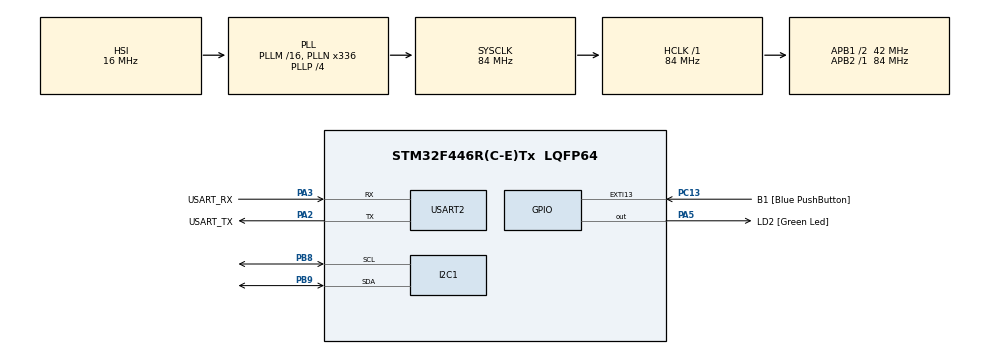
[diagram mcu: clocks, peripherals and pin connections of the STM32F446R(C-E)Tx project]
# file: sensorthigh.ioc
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Dma.I2C1_RX.0.Direction=DMA_PERIPH_TO_MEMORY
Dma.I2C1_RX.0.FIFOMode=DMA_FIFOMODE_DISABLE
Dma.I2C1_RX.0.Instance=DMA1_Stream0
Dma.I2C1_RX.0.MemDataAlignment=DMA_MDATAALIGN_BYTE
Dma.I2C1_RX.0.MemInc=DMA_MINC_ENABLE
Dma.I2C1_RX.0.Mode=DMA_NORMAL
Dma.I2C1_RX.0.PeriphDataAlignment=DMA_PDATAALIGN_BYTE
Dma.I2C1_RX.0.PeriphInc=DMA_PINC_DISABLE
Dma.I2C1_RX.0.Priority=DMA_PRIORITY_LOW
Dma.I2C1_TX.1.Direction=DMA_MEMORY_TO_PERIPH
Dma.I2C1_TX.1.FIFOMode=DMA_FIFOMODE_DISABLE
Dma.I2C1_TX.1.Instance=DMA1_Stream6
Dma.I2C1_TX.1.MemDataAlignment=DMA_MDATAALIGN_BYTE
Dma.I2C1_TX.1.MemInc=DMA_MINC_ENABLE
Dma.I2C1_TX.1.Mode=DMA_NORMAL
Dma.I2C1_TX.1.PeriphDataAlignment=DMA_PDATAALIGN_BYTE
Dma.I2C1_TX.1.PeriphInc=DMA_PINC_DISABLE
Dma.I2C1_TX.1.Priority=DMA_PRIORITY_LOW
Dma.Request0=I2C1_RX
Dma.Request1=I2C1_TX
I2C1.I2C_Mode=I2C_Fast
Mcu.Family=STM32F4
Mcu.Name=STM32F446R(C-E)Tx
Mcu.Package=LQFP64
NVIC.DMA1_Stream0_IRQn=true\:0\:0\:false\:false\:true\:false\:true\:true
NVIC.DMA1_Stream6_IRQn=true\:0\:0\:false\:false\:true\:false\:true\:true
NVIC.PriorityGroup=NVIC_PRIORITYGROUP_0
NVIC.USART2_IRQn=true\:0\:0\:false\:false\:true\:true\:true\:true
PA13.GPIO_Label=TMS
PA13.Mode=Serial_Wire
PA13.Signal=SYS_JTMS-SWDIO
PA14.GPIO_Label=TCK
PA14.Mode=Serial_Wire
PA14.Signal=SYS_JTCK-SWCLK
PA2.GPIO_Label=USART_TX
PA2.Mode=Asynchronous
PA2.Signal=USART2_TX
PA3.GPIO_Label=USART_RX
PA3.Mode=Asynchronous
PA3.Signal=USART2_RX
PA5.GPIO_Label=LD2 [Green Led]
PA5.Signal=GPIO_Output
PB3.GPIO_Label=SWO
PB3.Signal=SYS_JTDO-SWO
PB8.Mode=I2C
PB8.Signal=I2C1_SCL
PB9.Mode=I2C
PB9.Signal=I2C1_SDA
PC13.GPIO_Label=B1 [Blue PushButton]
PC13.GPIO_ModeDefaultEXTI=GPIO_MODE_IT_FALLING
PC13.Signal=GPXTI13
PC14-OSC32_IN.Mode=LSE-External-Oscillator
PC14-OSC32_IN.Signal=RCC_OSC32_IN
PC15-OSC32_OUT.Mode=LSE-External-Oscillator
PC15-OSC32_OUT.Signal=RCC_OSC32_OUT
PH0-OSC_IN.Mode=HSE-External-Oscillator
PH0-OSC_IN.Signal=RCC_OSC_IN
PH1-OSC_OUT.Mode=HSE-External-Oscillator
PH1-OSC_OUT.Signal=RCC_OSC_OUT
ProjectManager.HeapSize=0x200
ProjectManager.StackSize=0x400
ProjectManager.TargetToolchain=STM32CubeIDE
RCC.48MHZClocksFreq_Value=84000000
RCC.AHBFreq_Value=84000000
RCC.APB1CLKDivider=RCC_HCLK_DIV2
RCC.APB1Freq_Value=42000000
RCC.APB1TimFreq_Value=84000000
RCC.APB2Freq_Value=84000000
RCC.APB2TimFreq_Value=84000000
RCC.CortexFreq_Value=84000000
RCC.FLatency-AdvancedSettings=FLASH_LATENCY_2
RCC.HCLKFreq_Value=84000000
RCC.HSE_VALUE=8000000
RCC.HSI_VALUE=16000000
RCC.PLLN=336
RCC.PLLP=RCC_PLLP_DIV4
RCC.SYSCLKFreq_VALUE=84000000
RCC.SYSCLKSource=RCC_SYSCLKSOURCE_PLLCLK
RCC.USBFreq_Value=168000000
RCC.VCOOutputFreq_Value=336000000
USART2.VirtualMode=VM_ASYNC
board=NUCLEO-F446RE

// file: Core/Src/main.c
/* USER CODE BEGIN Header */
/**
  ******************************************************************************
  * @file           : main.c
  * @brief          : Main program body
  ******************************************************************************
  * @attention
  *
  * Copyright (c) 2025 STMicroelectronics.
  * All rights reserved.
  *
  * This software is licensed under terms that can be found in the LICENSE file
  * in the root directory of this software component.
  * If no LICENSE file comes with this software, it is provided AS-IS.
  *
  ******************************************************************************
  */
/* USER CODE END Header */
#include "main.h"
#include <stdio.h>
#include <string.h>

/* USER CODE BEGIN PD */

//this is related to finding the BBO055 Sensor ID
#define BNO055_ADDRESS (0x28 << 1)

/* USER CODE END PD */

I2C_HandleTypeDef hi2c1;
DMA_HandleTypeDef hdma_i2c1_rx;
DMA_HandleTypeDef hdma_i2c1_tx;

UART_HandleTypeDef huart2;

void SystemClock_Config(void);
static void MX_GPIO_Init(void);
static void MX_DMA_Init(void);
static void MX_USART2_UART_Init(void);
static void MX_I2C1_Init(void);

int main(void)
{

  /* MCU Configuration--------------------------------------------------------*/

  /* Reset of all peripherals, Initializes the Flash interface and the Systick. */
  HAL_Init();

  /* Configure the system clock */
  SystemClock_Config();

  /* Initialize all configured peripherals */
  MX_GPIO_Init();
  MX_DMA_Init();
  MX_USART2_UART_Init();
  MX_I2C1_Init();
  /* USER CODE BEGIN 2 */

  // [DELETE LATER] UART test message to verify serial communication
  char msg[] = "System initialized\r\n";
  HAL_UART_Transmit(&huart2, (uint8_t*)msg, strlen(msg), HAL_MAX_DELAY);

  //[DELETE LATER] BNO055 chip ID read and print to UART

  uint8_t chipID = 0;
  HAL_StatusTypeDef status;

  status = HAL_I2C_Mem_Read(&hi2c1, BNO055_ADDRESS, 0x00, I2C_MEMADD_SIZE_8BIT, &chipID, 1, HAL_MAX_DELAY);

  if (status == HAL_OK) {
      char success[64];
      sprintf(success, "BNO055 ID: 0x%X\r\n", chipID);
      HAL_UART_Transmit(&huart2, (uint8_t*)success, strlen(success), HAL_MAX_DELAY);
  } else {
      char fail[] = "Failed to read BNO055\r\n";
      HAL_UART_Transmit(&huart2, (uint8_t*)fail, strlen(fail), HAL_MAX_DELAY);
  }

  if (chipID == 0xA0) {
      HAL_GPIO_WritePin(LD2_GPIO_Port, LD2_Pin, GPIO_PIN_SET);  // LED ON
  } else {
      HAL_GPIO_WritePin(LD2_GPIO_Port, LD2_Pin, GPIO_PIN_RESET);  // LED OFF (optional)
  }

  /*TO PRINT TO LED INSTEAD:
   uint8_t chipID = 0;
HAL_I2C_Mem_Read(&hi2c1, BNO055_ADDRESS, 0x00, 1, &chipID, 1, HAL_MAX_DELAY);

if (chipID == 0xA0) {
    HAL_GPIO_WritePin(GPIOA, GPIO_PIN_5, GPIO_PIN_SET); // Turn on LED if OK
}
     */

/*Start SENSOR INITIALIZATION CODE*/

  // Set BNO055 to config mode
  HAL_I2C_Mem_Write(&hi2c1, (0x28 << 1), 0x3D, 1, (uint8_t[]){0x00}, 1, HAL_MAX_DELAY);
  HAL_Delay(20); // Wait for mode switch

  // Set BNO055 to IMU mode
  HAL_I2C_Mem_Write(&hi2c1, (0x28 << 1), 0x3D, 1, (uint8_t[]){0x08}, 1, HAL_MAX_DELAY);
  HAL_Delay(20);

  printf("Sensor in IMU Mode\n");

  /*end sensor initialisation code*/

  /*Start Read sensor data code*/
  /* USER CODE BEGIN WHILE */
  while (1) {
	  uint8_t buffer[6];
	        int16_t gx, gy, gz, ax, ay, az, roll_raw, pitch_raw, yaw_raw;
	        float gyroX, gyroY, gyroZ;
	        float accelX, accelY, accelZ;
	        float roll, pitch, yaw;
	        char data[256];

	        // ----- Read Gyroscope (0x14)
	        HAL_I2C_Mem_Read(&hi2c1, (0x28 << 1), 0x14, 1, buffer, 6, HAL_MAX_DELAY);
	        gx = (buffer[1] << 8) | buffer[0];
	        gy = (buffer[3] << 8) | buffer[2];
	        gz = (buffer[5] << 8) | buffer[4];
	        gyroX = gx / 16.0;
	        gyroY = gy / 16.0;
	        gyroZ = gz / 16.0;

	        // ----- Read Accelerometer (0x08)
	        HAL_I2C_Mem_Read(&hi2c1, (0x28 << 1), 0x08, 1, buffer, 6, HAL_MAX_DELAY);
	        ax = (buffer[1] << 8) | buffer[0];
	        ay = (buffer[3] << 8) | buffer[2];
	        az = (buffer[5] << 8) | buffer[4];
	        accelX = ax / 100.0;  // 1 LSB = 1 mg
	        accelY = ay / 100.0;
	        accelZ = az / 100.0;

	        // ----- Read Euler angles (0x1A)
	        HAL_I2C_Mem_Read(&hi2c1, (0x28 << 1), 0x1A, 1, buffer, 6, HAL_MAX_DELAY);
	        roll_raw  = (buffer[1] << 8) | buffer[0];
	        pitch_raw = (buffer[3] << 8) | buffer[2];
	        yaw_raw   = (buffer[5] << 8) | buffer[4];
	        roll  = roll_raw / 16.0;
	        pitch = pitch_raw / 16.0;
	        yaw   = yaw_raw / 16.0;

	        // ----- Print All Readings
	        sprintf(data,
	                "Gyro X: %.2f Y: %.2f Z: %.2f\r\n"
	                "Accel X: %.2f Y: %.2f Z: %.2f\r\n"
	                "Euler Roll: %.2f Pitch: %.2f Yaw: %.2f\r\n\r\n",
	                gyroX, gyroY, gyroZ,
	                accelX, accelY, accelZ,
	                roll, pitch, yaw);

	        HAL_UART_Transmit(&huart2, (uint8_t*)data, strlen(data), HAL_MAX_DELAY);

	        HAL_Delay(300); // Delay between readings
	    }

  }

  /* USER CODE END WHILE */
  /*End Read sensor data code*/
  /* USER CODE END 2 */

  /* Infinite loop */

void SystemClock_Config(void)
{
  RCC_OscInitTypeDef RCC_OscInitStruct = {0};
  RCC_ClkInitTypeDef RCC_ClkInitStruct = {0};

  /** Configure the main internal regulator output voltage
  */
  __HAL_RCC_PWR_CLK_ENABLE();
  __HAL_PWR_VOLTAGESCALING_CONFIG(PWR_REGULATOR_VOLTAGE_SCALE3);

  /** Initializes the RCC Oscillators according to the specified parameters
  * in the RCC_OscInitTypeDef structure.
  */
  RCC_OscInitStruct.OscillatorType = RCC_OSCILLATORTYPE_HSI;
  RCC_OscInitStruct.HSIState = RCC_HSI_ON;
  RCC_OscInitStruct.HSICalibrationValue = RCC_HSICALIBRATION_DEFAULT;
  RCC_OscInitStruct.PLL.PLLState = RCC_PLL_ON;
  RCC_OscInitStruct.PLL.PLLSource = RCC_PLLSOURCE_HSI;
  RCC_OscInitStruct.PLL.PLLM = 16;
  RCC_OscInitStruct.PLL.PLLN = 336;
  RCC_OscInitStruct.PLL.PLLP = RCC_PLLP_DIV4;
  RCC_OscInitStruct.PLL.PLLQ = 2;
  RCC_OscInitStruct.PLL.PLLR = 2;
  if (HAL_RCC_OscConfig(&RCC_OscInitStruct) != HAL_OK)
  {
    Error_Handler();
  }

  /** Initializes the CPU, AHB and APB buses clocks
  */
  RCC_ClkInitStruct.ClockType = RCC_CLOCKTYPE_HCLK|RCC_CLOCKTYPE_SYSCLK
                              |RCC_CLOCKTYPE_PCLK1|RCC_CLOCKTYPE_PCLK2;
  RCC_ClkInitStruct.SYSCLKSource = RCC_SYSCLKSOURCE_PLLCLK;
  RCC_ClkInitStruct.AHBCLKDivider = RCC_SYSCLK_DIV1;
  RCC_ClkInitStruct.APB1CLKDivider = RCC_HCLK_DIV2;
  RCC_ClkInitStruct.APB2CLKDivider = RCC_HCLK_DIV1;

  if (HAL_RCC_ClockConfig(&RCC_ClkInitStruct, FLASH_LATENCY_2) != HAL_OK)
  {
    Error_Handler();
  }
}

static void MX_I2C1_Init(void)
{

  hi2c1.Instance = I2C1;
  hi2c1.Init.ClockSpeed = 400000;
  hi2c1.Init.DutyCycle = I2C_DUTYCYCLE_2;
  hi2c1.Init.OwnAddress1 = 0;
  hi2c1.Init.AddressingMode = I2C_ADDRESSINGMODE_7BIT;
  hi2c1.Init.DualAddressMode = I2C_DUALADDRESS_DISABLE;
  hi2c1.Init.OwnAddress2 = 0;
  hi2c1.Init.GeneralCallMode = I2C_GENERALCALL_DISABLE;
  hi2c1.Init.NoStretchMode = I2C_NOSTRETCH_DISABLE;
  if (HAL_I2C_Init(&hi2c1) != HAL_OK)
  {
    Error_Handler();
  }

}

static void MX_USART2_UART_Init(void)
{

  huart2.Instance = USART2;
  huart2.Init.BaudRate = 115200;
  huart2.Init.WordLength = UART_WORDLENGTH_8B;
  huart2.Init.StopBits = UART_STOPBITS_1;
  huart2.Init.Parity = UART_PARITY_NONE;
  huart2.Init.Mode = UART_MODE_TX_RX;
  huart2.Init.HwFlowCtl = UART_HWCONTROL_NONE;
  huart2.Init.OverSampling = UART_OVERSAMPLING_16;
  if (HAL_UART_Init(&huart2) != HAL_OK)
  {
    Error_Handler();
  }

}

static void MX_DMA_Init(void)
{

  /* DMA controller clock enable */
  __HAL_RCC_DMA1_CLK_ENABLE();

  /* DMA interrupt init */
  /* DMA1_Stream0_IRQn interrupt configuration */
  HAL_NVIC_SetPriority(DMA1_Stream0_IRQn, 0, 0);
  HAL_NVIC_EnableIRQ(DMA1_Stream0_IRQn);
  /* DMA1_Stream6_IRQn interrupt configuration */
  HAL_NVIC_SetPriority(DMA1_Stream6_IRQn, 0, 0);
  HAL_NVIC_EnableIRQ(DMA1_Stream6_IRQn);

}

static void MX_GPIO_Init(void)
{
  GPIO_InitTypeDef GPIO_InitStruct = {0};

  /* GPIO Ports Clock Enable */
  __HAL_RCC_GPIOC_CLK_ENABLE();
  __HAL_RCC_GPIOH_CLK_ENABLE();
  __HAL_RCC_GPIOA_CLK_ENABLE();
  __HAL_RCC_GPIOB_CLK_ENABLE();

  /*Configure GPIO pin Output Level */
  HAL_GPIO_WritePin(LD2_GPIO_Port, LD2_Pin, GPIO_PIN_RESET);

  /*Configure GPIO pin : B1_Pin */
  GPIO_InitStruct.Pin = B1_Pin;
  GPIO_InitStruct.Mode = GPIO_MODE_IT_FALLING;
  GPIO_InitStruct.Pull = GPIO_NOPULL;
  HAL_GPIO_Init(B1_GPIO_Port, &GPIO_InitStruct);

  /*Configure GPIO pin : LD2_Pin */
  GPIO_InitStruct.Pin = LD2_Pin;
  GPIO_InitStruct.Mode = GPIO_MODE_OUTPUT_PP;
  GPIO_InitStruct.Pull = GPIO_NOPULL;
  GPIO_InitStruct.Speed = GPIO_SPEED_FREQ_LOW;
  HAL_GPIO_Init(LD2_GPIO_Port, &GPIO_InitStruct);

}

/* USER CODE BEGIN 4 */
int __io_putchar(int ch)
{
    HAL_UART_Transmit(&huart2, (uint8_t*)&ch, 1, HAL_MAX_DELAY);
    return ch;
}
/* USER CODE END 4 */

void Error_Handler(void)
{
  __disable_irq();
  while (1)
  {
  }
}
